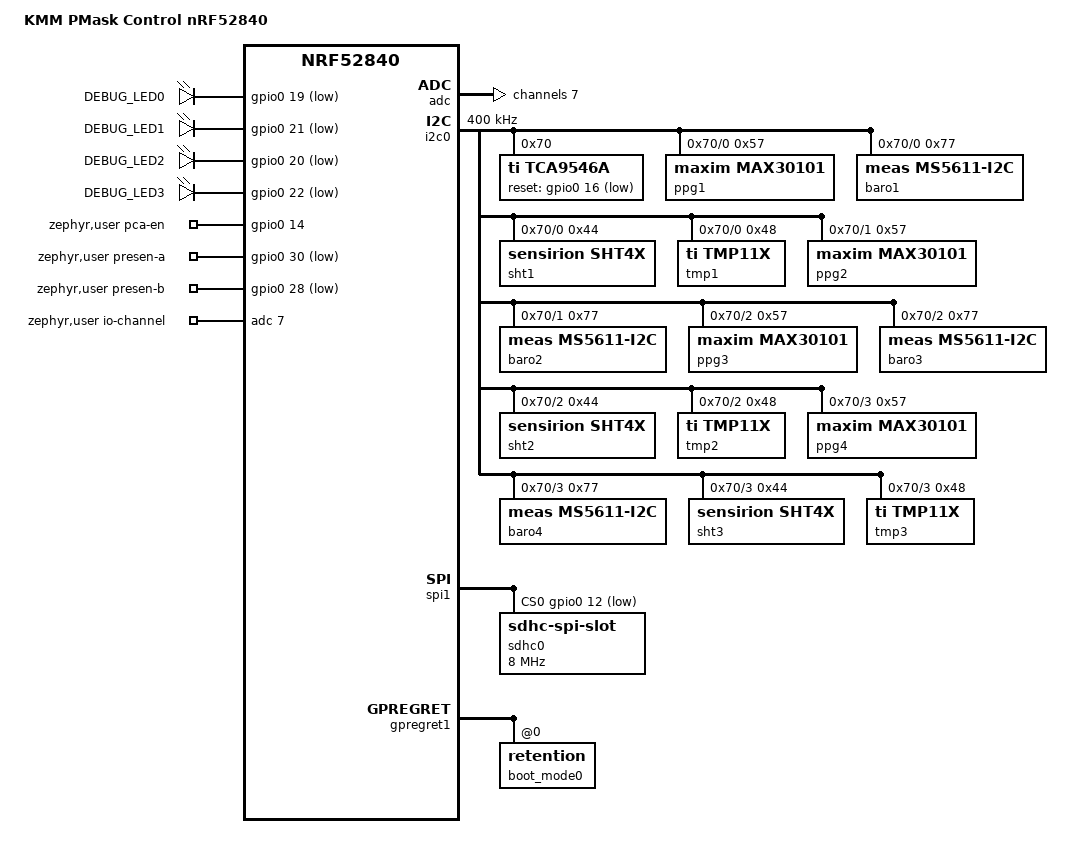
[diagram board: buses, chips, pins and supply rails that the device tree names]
/*
 * KMM PMask Control board — Raytac MDBT50Q-P1MV2 module (nRF52840)
 *
 * Redesign of the CPAP PI control board:
 * - Normal-voltage mode (VDD = VDDH = 3.3 V) — no REGOUT0 dependence
 * - Mask link: I2C only, via PCA9517A repeater (EN = P0.14) over a
 *   SYMMETRIC 30-pin FFC (orientation-proof); mask mux reset = P0.16
 * - The mask carries a TCA9546A @0x70 with 4 site clusters:
 *     ch0/ch2/ch3: MAX30101 (0x57) + MS5611 in I2C mode (0x77)
 *                  + SHT40 (0x44) + TMP117 (0x48)
 *     ch1:         MAX30101 + MS5611 only
 * - microSD on SPI (CS P0.12), battery divider (1M/1M) on AIN7,
 *   mask-presence pins (grounded on the mask) P0.30/P0.28,
 *   4 active-low debug LEDs, reset button on P0.18
 *
 * SPDX-License-Identifier: Apache-2.0
 */

/dts-v1/;
#include <nordic/nrf52840_qiaa.dtsi>
#include <nordic/nrf52840_partition.dtsi>
#include <zephyr/dt-bindings/adc/adc.h>
#include <zephyr/dt-bindings/adc/nrf-saadc.h>
#include "kmm_pmask_control_nrf52840-pinctrl.dtsi"

/ {
	model = "KMM PMask Control nRF52840";
	compatible = "kamoamoa,kmm-pmask-control-nrf52840";

	chosen {
		zephyr,boot-mode = &boot_mode0;
	};

	leds {
		compatible = "gpio-leds";

		led0: led_0 {
			gpios = <&gpio0 19 GPIO_ACTIVE_LOW>;
			label = "DEBUG_LED0";
		};

		led1: led_1 {
			gpios = <&gpio0 21 GPIO_ACTIVE_LOW>;
			label = "DEBUG_LED1";
		};

		led2: led_2 {
			gpios = <&gpio0 20 GPIO_ACTIVE_LOW>;
			label = "DEBUG_LED2";
		};

		led3: led_3 {
			gpios = <&gpio0 22 GPIO_ACTIVE_LOW>;
			label = "DEBUG_LED3";
		};
	};

	zephyr,user {
		/* PCA9517A repeater enable — must be HIGH before any mask
		 * I2C traffic
		 */
		pca-en-gpios = <&gpio0 14 GPIO_ACTIVE_HIGH>;
		/* Mask presence: these FFC pins are grounded on the mask,
		 * so active-low + pull-up = "logical 1 when mask attached".
		 * Two pins because the symmetric cable maps A<->B when
		 * flipped; both are grounded mask-side.
		 */
		presen-a-gpios = <&gpio0 30 (GPIO_ACTIVE_LOW | GPIO_PULL_UP)>;
		presen-b-gpios = <&gpio0 28 (GPIO_ACTIVE_LOW | GPIO_PULL_UP)>;
		/* Battery voltage via 1M/1M divider */
		io-channels = <&adc 7>;
	};

	aliases {
		led0 = &led0;
		led1 = &led1;
		led2 = &led2;
		led3 = &led3;
		watchdog0 = &wdt0;
	};
};

&adc {
	status = "okay";
	#address-cells = <1>;
	#size-cells = <0>;

	/* BATT_SENSE = VBAT/2 (1M/1M). Gain 1/6, 0.6 V ref -> 3.6 V full
	 * scale; max acquisition time for the 500 kohm source impedance.
	 */
	channel@7 {
		reg = <7>;
		zephyr,gain = "ADC_GAIN_1_6";
		zephyr,reference = "ADC_REF_INTERNAL";
		zephyr,acquisition-time = <ADC_ACQ_TIME(ADC_ACQ_TIME_MICROSECONDS, 40)>;
		zephyr,input-positive = <NRF_SAADC_AIN7>; /* P0.31 */
		zephyr,resolution = <12>;
	};
};

&uicr {
	gpio-as-nreset;
};

&gpiote {
	status = "okay";
};

&gpio0 {
	status = "okay";
	gpio-line-names = "", "", "", "", "", "", "", "SD_MISO",
			  "", "", "", "SD_SCK", "SD_CS", "I2C_SDA", "PCA_EN",
			  "I2C_SCL", "MUX_RST", "", "RESET", "LED0", "LED2",
			  "LED1", "LED3", "", "", "", "", "",
			  "PRESEN_B", "", "PRESEN_A", "BATT_SENSE";
};

&gpio1 {
	status = "okay";
	gpio-line-names = "", "", "", "", "", "", "", "",
			  "", "SD_MOSI", "", "", "", "", "", "";
};

/* Mask bus: PCA9517A repeater (transparent) then the mask's TCA9546A
 * mux @0x70 (A0=A1=GND), reset via P0.16. Bus pull-ups are on the
 * mask (4.7k to 3.3 V per channel).
 */
&i2c0 {
	status = "okay";
	/* Fast mode is essential: ~26 mux-switched transactions per 10 ms
	 * tick (4x PPG + baro cycle) do not fit at the 100 kHz default.
	 * All devices (PCA9517A, TCA9546A, MAX30101, MS5611, SHT40,
	 * TMP117) are 400 kHz capable.
	 */
	clock-frequency = <I2C_BITRATE_FAST>;
	pinctrl-0 = <&i2c0_default>;
	pinctrl-1 = <&i2c0_sleep>;
	pinctrl-names = "default", "sleep";

	tca9546a: tca9546a@70 {
		compatible = "ti,tca9546a";
		reg = <0x70>;
		status = "okay";
		#address-cells = <1>;
		#size-cells = <0>;
		reset-gpios = <&gpio0 16 GPIO_ACTIVE_LOW>;

		mux_i2c0: mux_i2c@0 {
			compatible = "ti,tca9546a-channel";
			reg = <0>;
			#address-cells = <1>;
			#size-cells = <0>;

			ppg1: max30101@57 {
				compatible = "maxim,max30101";
				reg = <0x57>;
				acq-mode = "multi-led";
				led-slot = <1 2 3 0>; /* R, IR, G */
				smp-sr = <100>;
				led-pw = <411>;
				fifo-rollover-en;
				led-pa = [1f 1f 7f];
				adc-rge = <16384>;
			};

			baro1: ms5611@77 {
				compatible = "meas,ms5611-i2c";
				reg = <0x77>;
			};

			sht1: sht4x@44 {
				compatible = "sensirion,sht4x";
				reg = <0x44>;
				repeatability = <2>;
			};

			tmp1: tmp117@48 {
				compatible = "ti,tmp11x";
				reg = <0x48>;
			};
		};

		mux_i2c1: mux_i2c@1 {
			compatible = "ti,tca9546a-channel";
			reg = <1>;
			#address-cells = <1>;
			#size-cells = <0>;

			ppg2: max30101@57 {
				compatible = "maxim,max30101";
				reg = <0x57>;
				acq-mode = "multi-led";
				led-slot = <1 2 3 0>;
				smp-sr = <100>;
				led-pw = <411>;
				fifo-rollover-en;
				led-pa = [1f 1f 7f];
				adc-rge = <16384>;
			};

			baro2: ms5611@77 {
				compatible = "meas,ms5611-i2c";
				reg = <0x77>;
			};
		};

		mux_i2c2: mux_i2c@2 {
			compatible = "ti,tca9546a-channel";
			reg = <2>;
			#address-cells = <1>;
			#size-cells = <0>;

			ppg3: max30101@57 {
				compatible = "maxim,max30101";
				reg = <0x57>;
				acq-mode = "multi-led";
				led-slot = <1 2 3 0>;
				smp-sr = <100>;
				led-pw = <411>;
				fifo-rollover-en;
				led-pa = [1f 1f 7f];
				adc-rge = <16384>;
			};

			baro3: ms5611@77 {
				compatible = "meas,ms5611-i2c";
				reg = <0x77>;
			};

			sht2: sht4x@44 {
				compatible = "sensirion,sht4x";
				reg = <0x44>;
				repeatability = <2>;
			};

			tmp2: tmp117@48 {
				compatible = "ti,tmp11x";
				reg = <0x48>;
			};
		};

		mux_i2c3: mux_i2c@3 {
			compatible = "ti,tca9546a-channel";
			reg = <3>;
			#address-cells = <1>;
			#size-cells = <0>;

			ppg4: max30101@57 {
				compatible = "maxim,max30101";
				reg = <0x57>;
				acq-mode = "multi-led";
				led-slot = <1 2 3 0>;
				smp-sr = <100>;
				led-pw = <411>;
				fifo-rollover-en;
				led-pa = [1f 1f 7f];
				adc-rge = <16384>;
			};

			baro4: ms5611@77 {
				compatible = "meas,ms5611-i2c";
				reg = <0x77>;
			};

			sht3: sht4x@44 {
				compatible = "sensirion,sht4x";
				reg = <0x44>;
				repeatability = <2>;
			};

			tmp3: tmp117@48 {
				compatible = "ti,tmp11x";
				reg = <0x48>;
			};
		};
	};
};

/* microSD card, SPI mode */
&spi1 {
	status = "okay";
	pinctrl-0 = <&spi1_default>;
	pinctrl-1 = <&spi1_sleep>;
	pinctrl-names = "default", "sleep";
	cs-gpios = <&gpio0 12 GPIO_ACTIVE_LOW>;

	sdhc0: sdhc@0 {
		compatible = "zephyr,sdhc-spi-slot";
		reg = <0>;
		status = "okay";
		spi-max-frequency = <8000000>;

		mmc {
			compatible = "zephyr,sdmmc-disk";
			disk-name = "SD";
			status = "okay";
		};
	};
};

&gpregret1 {
	status = "okay";

	boot_mode0: boot_mode@0 {
		compatible = "zephyr,retention";
		status = "okay";
		reg = <0x0 0x1>;
	};
};
